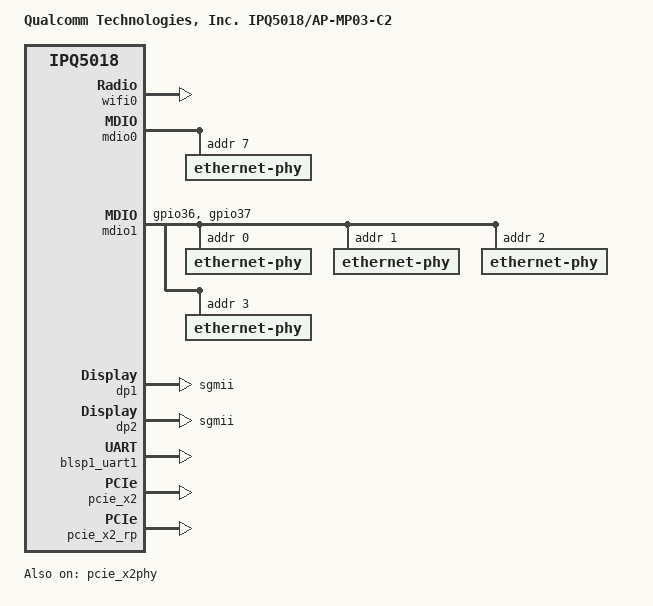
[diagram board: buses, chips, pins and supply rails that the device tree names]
// SPDX-License-Identifier: ISC
/*
 * Copyright (c) 2018-2020, The Linux Foundation. All rights reserved.
 */
/dts-v1/;

#include "ipq5018.dtsi"

/ {
	model = "Qualcomm Technologies, Inc. IPQ5018/AP-MP03-C2";
	compatible = "qcom,ipq5018-ap-mp03.1-c2", "qcom,ipq5018-mp03.1", "qcom,ipq5018";

	aliases {
		serial0 = &blsp1_uart1;
		ethernet0 = "/soc/dp1";
		ethernet1 = "/soc/dp2";
	};

	chosen {
		stdout-path = "serial0:115200n8";
		bootargs-append = " swiotlb=1 clk_ignore_unused";
	};

	reserved-memory {
	#ifdef __IPQ_MEM_PROFILE_256_MB__
	/*            256 MB Profile
	 * +=========+==============+========================+
	 * |        |              |                         |
	 * | Region | Start Offset |          Size           |
	 * |        |              |                         |
	 * +--------+--------------+-------------------------+
	 * |        |              |                         |
	 * |        |              |                         |
	 * |  NSS   |  0x40000000  |          8MB            |
	 * |        |              |                         |
	 * |        |              |                         |
	 * +--------+--------------+-------------------------+
	 * |        |              |                         |
	 * |        |              |                         |
	 * |        |              |                         |
	 * |        |              |                         |
	 * | Linux  |  0x40800000  | Depends on total memory |
	 * |        |              |                         |
	 * |        |              |                         |
	 * |        |              |                         |
	 * +        |              |                         |
	 * +--------+--------------+-------------------------+
	 * |        |              |                         |
	 * | uboot  |  0x4A600000  |           4MB           |
	 * |        |              |                         |
	 * +--------+--------------+-------------------------+
	 * |  SBL   |  0x4AA00000  |           1MB           |
	 * +--------+--------------+-------------------------+
	 * |  smem  |  0x4AB00000  |           1MB           |
	 * +--------+--------------+-------------------------+
	 * |        |              |                         |
	 * |   TZ   |  0x4AC00000  |           4MB           |
	 * |        |              |                         |
	 * +--------+--------------+-------------------------+
	 * |        |              |                         |
	 * |        |              |                         |
	 * |        |              |                         |
	 * |   Q6   |  0x4B000000  |          16MB           |
	 * |  code/ |              |                         |
	 * |  data  |              |                         |
	 * +--------+--------------+-------------------------+
	 * |        |              |                         |
	 * |IPQ5018 |  0x4C000000  |          13MB           |
	 * |  data  |              |                         |
	 * +--------+--------------+-------------------------+
	 * | M3 Dump|  0x4CD00000  |           1MB           |
	 * +--------+--------------+-------------------------+
	 * |  QDSS  |  0x4CE00000  |           1MB           |
	 * +--------+--------------+-------------------------+
	 * |QCN9100 |  0x4CF00000  |          15MB           |
	 * |  data  |              |                         |
	 * +--------+--------------+-------------------------+
	 * | M3 Dump|  0x4DE00000  |           1MB           |
	 * +--------+--------------+-------------------------+
	 * |  QDSS  |  0x4DF00000  |           1MB           |
	 * +--------+--------------+-------------------------+
	 * |        |              |                         |
	 * |QCN9000 |  0x4E000000  |          17MB           |
	 * |        |              |                         |
	 * +--------+--------------+-------------------------+
	 * |        |              |                         |
	 * |  MHI1  |  0x4F100000  |          16MB           |
	 * |        |              |                         |
	 * +--------+--------------+-------------------------+
	 * |                                                 |
	 * |      Rest of the memory for Linux               |
	 * |                                                 |
	 * +=================================================+
	 */

		q6_mem_regions: q6_mem_regions@4B000000 {
			no-map;
			reg = <0x0 0x4B000000 0x0 0x3000000>;
		};

		q6_code_data: q6_code_data@4B000000 {
			no-map;
			reg = <0x0 0x4B000000 0x0 01000000>;
		};

		q6_ipq5018_data: q6_ipq5018_data@4c000000 {
			no-map;
			reg = <0x0 0x4c000000 0x0 0xD00000>;
		};

		m3_dump: m3_dump@4CD00000 {
			no-map;
			reg = <0x0 0x4CD00000 0x0 0x100000>;
		};

		q6_etr_region:q6_etr_dump@4CE00000 {
			no-map;
			reg = <0x0 0x4CE00000 0x0 0x100000>;
		};

		q6_qcn9100_data1: q6_qcn9100_data1@4CF00000 {
			no-map;
			reg = <0x0 0x4CF00000 0x0 0xF00000>;
		};

		m3_dump_qcn9100_1: m3_dump_qcn9100_1@4DE00000 {
			no-map;
			reg = <0x0 0x4DE00000 0x0 0x100000>;
		};

		q6_qcn9100_etr_1: q6_qcn9100_etr_1@4DF00000 {
			no-map;
			reg = <0x0 0x4DF00000 0x0 0x100000>;
		};

		q6_qcn9000_region: qcn9000_pcie0@4E000000 {
			no-map;
			reg = <0x0 0x4E000000 0x0 0x01100000>;
		};

		mhi_region1: dma_pool1@4F100000 {
			compatible = "shared-dma-pool";
			no-map;
			reg = <0x0 0x4F100000 0x0 0x01000000>;
		};
	#elif __IPQ_MEM_PROFILE_512_MB__
	/*                      512 MB Profile
	 * +=========+==============+========================+
	 * |        |              |                         |
	 * | Region | Start Offset |          Size           |
	 * |        |              |                         |
	 * +--------+--------------+-------------------------+
	 * |        |              |                         |
	 * |        |              |                         |
	 * |  NSS   |  0x40000000  |          16MB           |
	 * |        |              |                         |
	 * |        |              |                         |
	 * +--------+--------------+-------------------------+
	 * |        |              |                         |
	 * |        |              |                         |
	 * |        |              |                         |
	 * |        |              |                         |
	 * | Linux  |  0x41000000  | Depends on total memory |
	 * |        |              |                         |
	 * |        |              |                         |
	 * |        |              |                         |
	 * |        |              |                         |
	 * +--------+--------------+-------------------------+
	 * |        |              |                         |
	 * | uboot  |  0x4A600000  |           4MB           |
	 * |        |              |                         |
	 * +--------+--------------+-------------------------+
	 * |  SBL   |  0x4AA00000  |           1MB           |
	 * +--------+--------------+-------------------------+
	 * |  smem  |  0x4AB00000  |           1MB           |
	 * +--------+--------------+-------------------------+
	 * |        |              |                         |
	 * |   TZ   |  0x4AC00000  |           4MB           |
	 * |        |              |                         |
	 * +--------+--------------+-------------------------+
	 * |        |              |                         |
	 * |        |              |                         |
	 * |   Q6   |  0x4B000000  |          16MB           |
	 * |  code/ |              |                         |
	 * |  data  |              |                         |
	 * +--------+--------------+-------------------------+
	 * |        |              |                         |
	 * |IPQ5018 |  0x4C000000  |          14MB           |
	 * |  data  |              |                         |
	 * +--------+--------------+-------------------------+
	 * | M3 Dump|  0x4CE00000  |           1MB           |
	 * +--------+--------------+-------------------------+
	 * |  QDSS  |  0x4CF00000  |           1MB           |
	 * +--------+--------------+-------------------------+
	 * | caldb  |  0x4D000000  |           2MB           |
	 * +--------+--------------+-------------------------+
	 * |QCN9100 |  0x4D200000  |          16MB           |
	 * |  data  |              |                         |
	 * +--------+--------------+-------------------------+
	 * | M3 Dump|  0x4E200000  |           1MB           |
	 * +--------+--------------+-------------------------+
	 * |  QDSS  |  0x4E300000  |           1MB           |
	 * +--------+--------------+-------------------------+
	 * | caldb  |  0x4E400000  |           5MB           |
	 * +--------+--------------+-------------------------+
	 * |        |              |                         |
	 * |QCN9000 |  0x4E900000  |          30MB           |
	 * |        |              |                         |
	 * +--------+--------------+-------------------------+
	 * |        |              |                         |
	 * |  MHI1  |  0x50700000  |          16MB           |
	 * |        |              |                         |
	 * +--------+--------------+-------------------------+
	 * |                                                 |
	 * |      Rest of the memory for Linux               |
	 * |                                                 |
	 * +=================================================+
	 */

		q6_mem_regions: q6_mem_regions@4B000000 {
			no-map;
			reg = <0x0 0x4B000000 0x0 0x3900000>;
		};

		q6_code_data: q6_code_data@4B000000 {
			no-map;
			reg = <0x0 0x4B000000 0x0 01000000>;
		};

		q6_ipq5018_data: q6_ipq5018_data@4C000000 {
			no-map;
			reg = <0x0 0x4C000000 0x0 0xE00000>;
		};

		m3_dump: m3_dump@4CE00000 {
			no-map;
			reg = <0x0 0x4CE00000 0x0 0x100000>;
		};

		q6_etr_region: q6_etr_dump@4CF00000 {
			no-map;
			reg = <0x0 0x4CF00000 0x0 0x100000>;
		};

		q6_caldb_region: q6_caldb_region@4D000000 {
			no-map;
			reg = <0x0 0x4D000000 0x0 0x200000>;
		};

		q6_qcn9100_data1: q6_qcn9100_data1@4D200000 {
			no-map;
			reg = <0x0 0x4D200000 0x0 0x1000000>;
		};

		m3_dump_qcn9100_1: m3_dump_qcn9100_1@4E200000 {
			no-map;
			reg = <0x0 0x4E200000 0x0 0x100000>;
		};

		q6_qcn9100_etr_1: q6_qcn9100_etr_1@4E300000 {
			no-map;
			reg = <0x0 0x4E300000 0x0 0x100000>;
		};

		q6_qcn9100_caldb_1: q6_qcn9100_caldb_1@4E400000 {
			no-map;
			reg = <0x0 0x4E400000 0x0 0x500000>;
		};

		q6_qcn9000_region: qcn9000_pcie0@4E900000 {
			no-map;
			reg = <0x0 0x4E900000 0x0 0x01E00000>;
		};

		mhi_region1: dma_pool1@50700000 {
			compatible = "shared-dma-pool";
			no-map;
			reg = <0x0 0x50700000 0x0 0x01000000>;
		};
	#else
	/*                      1G Profile
	 * +=========+==============+========================+
	 * |        |              |                         |
	 * | Region | Start Offset |          Size           |
	 * |        |              |                         |
	 * +--------+--------------+-------------------------+
	 * |        |              |                         |
	 * |        |              |                         |
	 * |  NSS   |  0x40000000  |          16MB           |
	 * |        |              |                         |
	 * |        |              |                         |
	 * +--------+--------------+-------------------------+
	 * |        |              |                         |
	 * |        |              |                         |
	 * |        |              |                         |
	 * |        |              |                         |
	 * | Linux  |  0x41000000  | Depends on total memory |
	 * |        |              |                         |
	 * |        |              |                         |
	 * |        |              |                         |
	 * |        |              |                         |
	 * +--------+--------------+-------------------------+
	 * |        |              |                         |
	 * | uboot  |  0x4A600000  |           4MB           |
	 * |        |              |                         |
	 * +--------+--------------+-------------------------+
	 * |  SBL   |  0x4AA00000  |           1MB           |
	 * +--------+--------------+-------------------------+
	 * |  smem  |  0x4AB00000  |           1MB           |
	 * +--------+--------------+-------------------------+
	 * |        |              |                         |
	 * |   TZ   |  0x4AC00000  |           4MB           |
	 * |        |              |                         |
	 * +--------+--------------+-------------------------+
	 * |        |              |                         |
	 * |        |              |                         |
	 * |   Q6   |  0x4B000000  |          16MB           |
	 * |  code/ |              |                         |
	 * |  data  |              |                         |
	 * +--------+--------------+-------------------------+
	 * |        |              |                         |
	 * |IPQ5018 |  0x4C000000  |          14MB           |
	 * |  data  |              |                         |
	 * +--------+--------------+-------------------------+
	 * | M3 Dump|  0x4CE00000  |           1MB           |
	 * +--------+--------------+-------------------------+
	 * |  QDSS  |  0x4CF00000  |           1MB           |
	 * +--------+--------------+-------------------------+
	 * | caldb  |  0x4D000000  |           2MB           |
	 * +--------+--------------+-------------------------+
	 * |QCN9100 |  0x4D200000  |          16MB           |
	 * |  data  |              |                         |
	 * +--------+--------------+-------------------------+
	 * | M3 Dump|  0x4E200000  |           1MB           |
	 * +--------+--------------+-------------------------+
	 * |  QDSS  |  0x4E300000  |           1MB           |
	 * +--------+--------------+-------------------------+
	 * | caldb  |  0x4E400000  |           5MB           |
	 * +--------+--------------+-------------------------+
	 * |        |              |                         |
	 * |QCN9000 |  0x4E900000  |          45MB           |
	 * |        |              |                         |
	 * +--------+--------------+-------------------------+
	 * |        |              |                         |
	 * |  MHI1  |  0x51600000  |          24MB           |
	 * |        |              |                         |
	 * +--------+--------------+-------------------------+
	 * |                                                 |
	 * |      Rest of the memory for Linux               |
	 * |                                                 |
	 * +=================================================+
	 */

		q6_mem_regions: q6_mem_regions@4B000000 {
			no-map;
			reg = <0x0 0x4B000000 0x0 0x3900000>;
		};

		q6_code_data: q6_code_data@4B000000 {
			no-map;
			reg = <0x0 0x4B000000 0x0 01000000>;
		};

		q6_ipq5018_data: q6_ipq5018_data@4C000000 {
			no-map;
			reg = <0x0 0x4C000000 0x0 0xE00000>;
		};

		m3_dump: m3_dump@4CE00000 {
			no-map;
			reg = <0x0 0x4CE00000 0x0 0x100000>;
		};

		q6_etr_region: q6_etr_dump@4CF00000 {
			no-map;
			reg = <0x0 0x4CF00000 0x0 0x100000>;
		};

		q6_caldb_region: q6_caldb_region@4D000000 {
			no-map;
			reg = <0x0 0x4D000000 0x0 0x200000>;
		};

		q6_qcn9100_data1: q6_qcn9100_data1@4D200000 {
			no-map;
			reg = <0x0 0x4D200000 0x0 0x1000000>;
		};

		m3_dump_qcn9100_1: m3_dump_qcn9100_1@4E200000 {
			no-map;
			reg = <0x0 0x4E200000 0x0 0x100000>;
		};

		q6_qcn9100_etr_1: q6_qcn9100_etr_1@4E300000 {
			no-map;
			reg = <0x0 0x4E300000 0x0 0x100000>;
		};

		q6_qcn9100_caldb_1: q6_qcn9100_caldb_1@4E400000 {
			no-map;
			reg = <0x0 0x4E400000 0x0 0x500000>;
		};

		q6_qcn9000_region: qcn9000_pcie0@4E900000 {
			no-map;
			reg = <0x0 0x4E900000 0x0 0x02D00000>;
		};

		mhi_region1: dma_pool1@51600000 {
			compatible = "shared-dma-pool";
			no-map;
			reg = <0x0 0x51600000 0x0 0x01800000>;
		};
	#endif
	};
	soc {
		wifi0: wifi@c000000 {
			status = "ok";
		};

		mdio0: mdio@88000 {
			status = "ok";

			ethernet-phy@0 {
				reg = <7>;
			};
		};

		mdio1: mdio@90000 {
			status = "ok";
			pinctrl-0 = <&mdio1_pins>;
			pinctrl-names = "default";
			phy-reset-gpio = <&tlmm 39 0>;
			ethernet-phy@0 {
				reg = <0>;
			};

			ethernet-phy@1 {
				reg = <1>;
			};

			ethernet-phy@2 {
				reg = <2>;
			};

			ethernet-phy@3 {
				reg = <3>;
			};
		};

		ess-instance {
			num_devices = <0x2>;
			ess-switch@0x39c00000 {
				compatible = "qcom,ess-switch-ipq50xx";
				device_id = <0>;
				switch_mac_mode = <0xf>; /* mac mode for uniphy instance*/
				cmnblk_clk = "internal_96MHz"; /* cmnblk clk*/
				qcom,port_phyinfo {
					port@0 {
						port_id = <1>;
						phy_address = <7>;
					};
					port@1 {
						port_id = <2>;
						forced-speed = <1000>;
						forced-duplex = <1>;
					};
				};
				led_source@0 {
					source = <0>;
					mode = "normal";
					speed = "all";
					blink_en = "enable";
					active = "high";
				};
			};
			ess-switch1@1 {
				compatible = "qcom,ess-switch-qca83xx";
				device_id = <1>;
				switch_access_mode = "mdio";
				mdio-bus = <&mdio1>;
				reset_gpio = <&tlmm 0x27 0>;
				switch_cpu_bmp = <0x40>;  /* cpu port bitmap */
				switch_lan_bmp = <0x1e>; /* lan port bitmap */
				switch_wan_bmp = <0x0>;  /* wan port bitmap */
				qca,ar8327-initvals = <
						0x00004 0x7600000   /* PAD0_MODE */
						0x00008 0x1000000   /* PAD5_MODE */
						0x0000c 0x80        /* PAD6_MODE */
						0x00010 0x2613a0    /* PORT6 FORCE MODE*/
						0x000e4 0xaa545     /* MAC_POWER_SEL */
						0x000e0 0xc74164de  /* SGMII_CTRL */
						0x0007c 0x4e        /* PORT0_STATUS */
						0x00094 0x4e        /* PORT6_STATUS */
				>;
				qcom,port_phyinfo {
					port@0 {
						port_id = <1>;
						phy_address = <0>;
					};
					port@1 {
						port_id = <2>;
						phy_address = <1>;
					};
					port@2 {
						port_id = <3>;
						phy_address = <2>;
					};
					port@3 {
						port_id = <4>;
						phy_address = <3>;
					};
				};
			};
		};

		dp1 {
			device_type = "network";
			compatible = "qcom,nss-dp";
			clocks = <&gcc GCC_SNOC_GMAC0_AXI_CLK>;
			clock-names = "nss-snoc-gmac-axi-clk";
			qcom,id = <1>;
			reg = <0x39C00000 0x10000>;
			interrupts = <GIC_SPI 101 IRQ_TYPE_LEVEL_HIGH>;
			qcom,mactype = <2>;
			qcom,link-poll = <1>;
			qcom,phy-mdio-addr = <7>;
			mdio-bus = <&mdio0>;
			local-mac-address = [000000000000];
			phy-mode = "sgmii";
		};

		dp2 {
			device_type = "network";
			compatible = "qcom,nss-dp";
			clocks = <&gcc GCC_SNOC_GMAC1_AXI_CLK>;
			clock-names = "nss-snoc-gmac-axi-clk";
			qcom,id = <2>;
			reg = <0x39D00000 0x10000>;
			interrupts = <GIC_SPI 109 IRQ_TYPE_LEVEL_HIGH>;
			qcom,mactype = <2>;
			local-mac-address = [000000000000];
			phy-mode = "sgmii";
		};
	};
};
&tlmm {
	pinctrl-0 = <&serial_1_pins &phy_led_pins>;
	pinctrl-names = "default";

	serial_1_pins: serial1-pinmux {
		pins = "gpio31", "gpio32", "gpio33", "gpio34";
		function = "blsp1_uart1";
		drive-strength = <8>;
		bias-pull-down;
	};

	mdio1_pins: mdio_pinmux {
		mux_0 {
			pins = "gpio36";
			function = "mdc";
			drive-strength = <8>;
			bias-pull-up;
		};
		mux_1 {
			pins = "gpio37";
			function = "mdio";
			drive-strength = <8>;
			bias-pull-up;
		};
	};

	phy_led_pins: phy_led_pins {
		gephy_led_pin {
			pins = "gpio46";
			function = "led0";
			drive-strength = <8>;
			bias-pull-down;
		};
	};
};

&blsp1_uart1 {
	status = "ok";
};

&pcie_x2 {
        status = "ok";
        perst-gpio = <&tlmm 15 1>;
};

&pcie_x2phy {
	status = "ok";
};

&pcie_x2_rp {
	status = "ok";
	mhi_1: qcom,mhi@1 {
		reg = <0 0 0 0 0 >;
		qrtr_instance_id = <0x20>;
		#address-cells = <0x2>;
		#size-cells = <0x2>;
		memory-region = <&mhi_region1>;
#if !defined(__CNSS2__)
		qrtr_node_id = <0x20>;
		base-addr = <0x4CC00000>;
		m3-dump-addr = <0x4E000000>;
		etr-addr = <0x4E100000>;
		qcom,caldb-addr = <0x4E200000>;
		qcom,tgt-mem-mode = <0x1>;
		mhi,max-channels = <30>;
		mhi,timeout = <10000>;
#endif
       };
};
